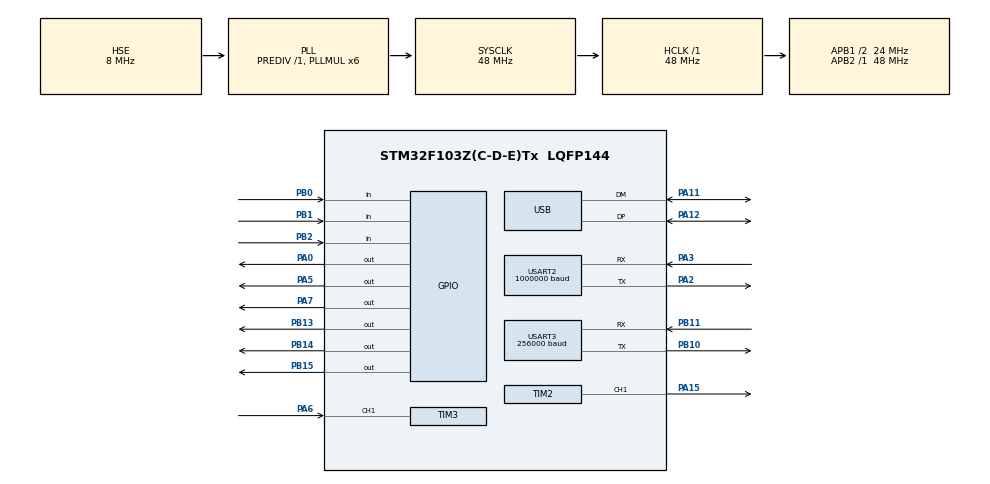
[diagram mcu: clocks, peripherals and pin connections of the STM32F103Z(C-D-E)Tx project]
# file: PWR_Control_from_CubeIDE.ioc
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FREERTOS.Tasks01=defaultTask,24,128,StartDefaultTask,Default,NULL,Dynamic,NULL,NULL
Mcu.Family=STM32F1
Mcu.Name=STM32F103Z(C-D-E)Tx
Mcu.Package=LQFP144
NVIC.PriorityGroup=NVIC_PRIORITYGROUP_4
NVIC.TIM3_IRQn=true\:3\:0\:true\:false\:true\:true\:true\:true\:true
NVIC.TIM6_IRQn=true\:5\:0\:false\:false\:true\:true\:true\:true\:true
NVIC.USART2_IRQn=true\:2\:0\:true\:false\:true\:true\:true\:true\:true
NVIC.USART3_IRQn=true\:1\:0\:true\:false\:true\:true\:true\:true\:true
NVIC.USB_LP_CAN1_RX0_IRQn=true\:5\:0\:false\:false\:true\:true\:false\:true\:true
OSC_IN.Mode=HSE-External-Oscillator
OSC_IN.Signal=RCC_OSC_IN
OSC_OUT.Mode=HSE-External-Oscillator
OSC_OUT.Signal=RCC_OSC_OUT
PA0-WKUP.Signal=GPIO_Output
PA11.Mode=Device
PA11.Signal=USB_DM
PA12.Mode=Device
PA12.Signal=USB_DP
PA13.Mode=Serial_Wire
PA13.Signal=SYS_JTMS-SWDIO
PA14.Mode=Serial_Wire
PA14.Signal=SYS_JTCK-SWCLK
PA15.Signal=S_TIM2_CH1_ETR
PA2.Mode=Asynchronous
PA2.Signal=USART2_TX
PA3.Mode=Asynchronous
PA3.Signal=USART2_RX
PA5.Signal=GPIO_Output
PA6.Signal=S_TIM3_CH1
PA7.Signal=GPIO_Output
PB0.GPIO_Mode=GPIO_MODE_INPUT
PB0.GPIO_PuPd=GPIO_PULLUP
PB0.Signal=GPIO_Input
PB1.GPIO_PuPd=GPIO_PULLDOWN
PB1.Signal=GPIO_Input
PB10.Mode=Asynchronous
PB10.Signal=USART3_TX
PB11.Mode=Asynchronous
PB11.Signal=USART3_RX
PB13.Signal=GPIO_Output
PB14.Signal=GPIO_Output
PB15.Signal=GPIO_Output
PB2.GPIO_PuPd=GPIO_PULLDOWN
PB2.Signal=GPIO_Input
ProjectManager.HeapSize=0x200
ProjectManager.StackSize=0x400
ProjectManager.TargetToolchain=STM32CubeIDE
RCC.AHBFreq_Value=48000000
RCC.APB1CLKDivider=RCC_HCLK_DIV2
RCC.APB1Freq_Value=24000000
RCC.APB1TimFreq_Value=48000000
RCC.APB2Freq_Value=48000000
RCC.APB2TimFreq_Value=48000000
RCC.HCLKFreq_Value=48000000
RCC.PLLMUL=RCC_PLL_MUL6
RCC.PLLSourceVirtual=RCC_PLLSOURCE_HSE
RCC.SYSCLKFreq_VALUE=48000000
RCC.SYSCLKSource=RCC_SYSCLKSOURCE_PLLCLK
RCC.USBFreq_Value=48000000
SH.S_TIM2_CH1_ETR.0=TIM2_CH1,PWM Generation1 CH1
SH.S_TIM3_CH1.0=TIM3_CH1,Input_Capture1_from_TI1
TIM2.AutoReloadPreload=TIM_AUTORELOAD_PRELOAD_ENABLE
TIM2.Channel-PWM\ Generation1\ CH1=TIM_CHANNEL_1
TIM2.Period=49
TIM2.Prescaler=71
TIM3.Channel-Input_Capture1_from_TI1=TIM_CHANNEL_1
TIM3.Prescaler=71
TIM6.Period=99
TIM6.Prescaler=71
USART2.BaudRate=1000000
USART2.VirtualMode=VM_ASYNC
USART3.BaudRate=256000
USART3.VirtualMode=VM_ASYNC
USB_DEVICE.CLASS_NAME_FS=CDC
USB_DEVICE.VirtualMode=Cdc
USB_DEVICE.VirtualModeFS=Cdc_FS
VP_FREERTOS_VS_CMSIS_V2.Mode=CMSIS_V2
VP_TIM2_VS_ClockSourceINT.Mode=Internal
VP_TIM3_VS_ClockSourceINT.Mode=Internal
VP_TIM6_VS_ClockSourceINT.Mode=Enable_Timer
VP_USB_DEVICE_VS_USB_DEVICE_CDC_FS.Mode=CDC_FS
board=custom

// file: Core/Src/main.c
/* USER CODE BEGIN Header */
/**
  ******************************************************************************
  * @file           : main.c
  * @brief          : Main program body
  ******************************************************************************
  * @attention
  *
  * <h2><center>&copy; Copyright (c) 2025 STMicroelectronics.
  * All rights reserved.</center></h2>
  *
  * This software component is licensed by ST under BSD 3-Clause license,
  * the "License"; You may not use this file except in compliance with the
  * License. You may obtain a copy of the License at:
  *                        opensource.org/licenses/BSD-3-Clause
  *
  ******************************************************************************
  */
/* USER CODE END Header */
#include "main.h"
#include "cmsis_os.h"
#include "tim.h"
#include "usart.h"
#include "usb_device.h"
#include "gpio.h"

/* USER CODE BEGIN Includes */
#include "hall_sensor.h"
#include "lasers.h"
#include "mks42d.h"
#include "motor_control.h"
#include "computer_bridge.h"
#include "uart_hal.h"
#include "CONFIG.h"
#include "injection_and_flow.h"
#include "usb_debug.h"
/* USER CODE END Includes */

/* USER CODE BEGIN PV */
bool hall_check_flag = false;
bool lasers_flag = false;
bool motor_flag = false;
bool motor_read_flag = false;
bool stepper_rx_check_flag = false;
bool check_start_flag = false;
bool transmit_data_flag = false;

// flowmeter + injection pump:
// volatile int flowmeter_pulse_flag = 0;
volatile bool injection_system_flag = 0;

uint32_t timer_cnt_1s = 0;
uint8_t timer_cnt_2ms = 0;
uint32_t timer_sync_count = 0;
uint32_t usb_serial_timer = 0;

/* USER CODE END PV */

void SystemClock_Config(void);
void MX_FREERTOS_Init(void);

int main(void)
{

  /* MCU Configuration--------------------------------------------------------*/

  /* Reset of all peripherals, Initializes the Flash interface and the Systick. */
  HAL_Init();

  /* Configure the system clock */
  SystemClock_Config();

  /* Initialize all configured peripherals */
  MX_GPIO_Init();
  MX_TIM2_Init();
  MX_TIM3_Init();
  MX_TIM6_Init();
  MX_USART2_UART_Init();
  MX_USART3_UART_Init();
  /* USER CODE BEGIN 2 */

  HAL_TIM_Base_Start_IT(&htim6); // start TIM6 system clock
	HAL_TIM_PWM_Start(&htim2, TIM_CHANNEL_1); // start TIM2 for PWM for injection pump
	HAL_TIM_IC_Start_IT(&htim3, TIM_CHANNEL_1); // start TIM3 for flowmeter input capture.

	// Custom Init functions:
	InjectionAndFlow_Init();
	flags_init();

	#if !SKIP_STARTUP_SEQUENCE // in config.h

		goHome(0x03);

		while (1) {
			uint8_t result = readGoHomeFinishAck();
			if (result == 1) { // 1 = Success
					break;
			}
			HAL_Delay(10);
		}

		HAL_Delay(5000);
		setZero(0x03);

		while (1) {
			uint8_t result = readSetZeroAck();
			if (result == 1) { // 1 = Success
					break;
			}
			HAL_Delay(10);
		}

		HAL_Delay(1000);
		positionMode2Run(0x03, 500, 50, 1600);
		HAL_Delay(5000);

	#endif

  /* USER CODE END 2 */

  /* Init scheduler */
  osKernelInitialize();  /* Call init function for freertos objects (in cmsis_os2.c) */
  MX_FREERTOS_Init();

  /* Start scheduler */
  osKernelStart();

  /* We should never get here as control is now taken by the scheduler */

  /* Infinite loop */
  while (1)
  {

    /* USER CODE BEGIN 3 */
//    hall_status_check();
//    lasers_shutdown();

      check_start();
      motor_test();
      motor_read();
      transmit_data();

			#if ENABLE_USB_SERIAL_DEBUG
					USB_serial_send_debug();
			#endif

			update_pump_state();
  }
  /* USER CODE END 3 */
}

void SystemClock_Config(void)
{
  RCC_OscInitTypeDef RCC_OscInitStruct = {0};
  RCC_ClkInitTypeDef RCC_ClkInitStruct = {0};
  RCC_PeriphCLKInitTypeDef PeriphClkInit = {0};

  /** Initializes the RCC Oscillators according to the specified parameters
  * in the RCC_OscInitTypeDef structure.
  */
  RCC_OscInitStruct.OscillatorType = RCC_OSCILLATORTYPE_HSE;
  RCC_OscInitStruct.HSEState = RCC_HSE_ON;
  RCC_OscInitStruct.HSEPredivValue = RCC_HSE_PREDIV_DIV1;
  RCC_OscInitStruct.HSIState = RCC_HSI_ON;
  RCC_OscInitStruct.PLL.PLLState = RCC_PLL_ON;
  RCC_OscInitStruct.PLL.PLLSource = RCC_PLLSOURCE_HSE;
  RCC_OscInitStruct.PLL.PLLMUL = RCC_PLL_MUL6;
  if (HAL_RCC_OscConfig(&RCC_OscInitStruct) != HAL_OK)
  {
    Error_Handler();
  }

  /** Initializes the CPU, AHB and APB buses clocks
  */
  RCC_ClkInitStruct.ClockType = RCC_CLOCKTYPE_HCLK|RCC_CLOCKTYPE_SYSCLK
                              |RCC_CLOCKTYPE_PCLK1|RCC_CLOCKTYPE_PCLK2;
  RCC_ClkInitStruct.SYSCLKSource = RCC_SYSCLKSOURCE_PLLCLK;
  RCC_ClkInitStruct.AHBCLKDivider = RCC_SYSCLK_DIV1;
  RCC_ClkInitStruct.APB1CLKDivider = RCC_HCLK_DIV2;
  RCC_ClkInitStruct.APB2CLKDivider = RCC_HCLK_DIV1;

  if (HAL_RCC_ClockConfig(&RCC_ClkInitStruct, FLASH_LATENCY_1) != HAL_OK)
  {
    Error_Handler();
  }
  PeriphClkInit.PeriphClockSelection = RCC_PERIPHCLK_USB;
  PeriphClkInit.UsbClockSelection = RCC_USBCLKSOURCE_PLL;
  if (HAL_RCCEx_PeriphCLKConfig(&PeriphClkInit) != HAL_OK)
  {
    Error_Handler();
  }
}

/* USER CODE BEGIN 4 */
void HAL_TIM_IC_CaptureCallback(TIM_HandleTypeDef *htim) {
    if (htim->Instance == TIM3 && htim->Channel == HAL_TIM_ACTIVE_CHANNEL_1) {
        FlowMeter_PulseCallback(); // call the function directly from the ISR for better real-time timestamping.
    }
}

void HAL_TIM_PeriodElapsedCallback(TIM_HandleTypeDef *htim)
{
    if (htim->Instance == TIM6) {
				#if RECORD_PULSE_TIMESTAMPS
						FlowMeter_TickHook(); // for recording flowmeter pulse timestamps.
						// GPT says that this is light for the ISR. Roughly 200 nanoseconds of time. Reevaluate and confirm if critical.
				#endif

        HAL_GPIO_WritePin(GPIOB, GPIO_PIN_14, 1);
        HAL_GPIO_WritePin(GPIOB, GPIO_PIN_14, 0);

				// tim6_tick++;   // new extern counter variable (CONFIG.h)

        hall_check_flag = true;
        lasers_flag = true;
        stepper_rx_check_flag = true;
        check_start_flag = true;

        if (++timer_cnt_1s >= 10000) {
						timer_cnt_1s = 0;
						motor_flag = true;
        }

        if (++timer_cnt_2ms >= 20) {
						timer_cnt_2ms = 0;
						motor_read_flag = true;
						transmit_data_flag = true;
        }

				if (++usb_serial_timer >= serial_send_ticks_threshold) {
						usb_serial_timer = 0;
						usb_serial_flag = 1;
        }

				if (++Pump_Control.pump_counter >= pump_ticks_threshold) {
						Pump_Control.pump_counter = 0;
						Pump_Control.pump_flag = 1;
        }

        if (run_state) {
						timer_sync_count++;
        }

        else {
						timer_sync_count = 0;
        }

    }
}
/* USER CODE END 4 */

void Error_Handler(void)
{
  __disable_irq();
  while (1)
  {
  }
}
